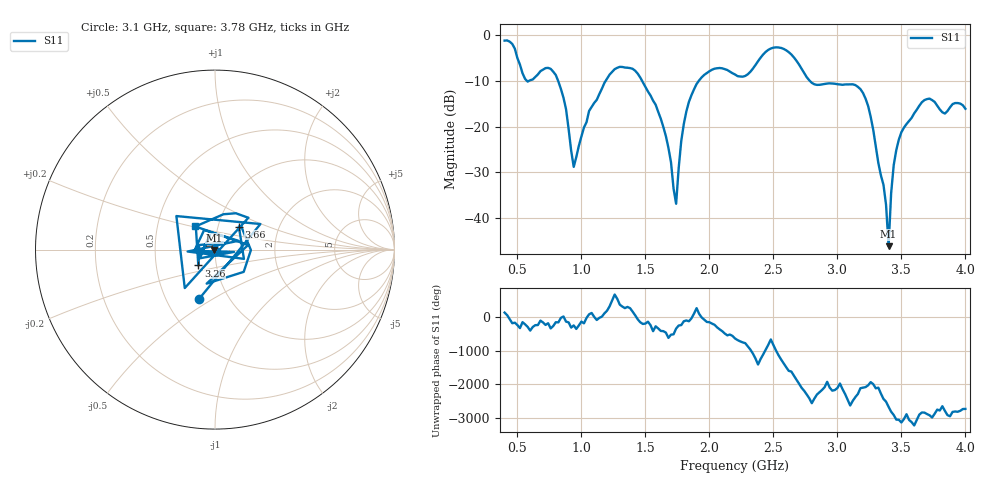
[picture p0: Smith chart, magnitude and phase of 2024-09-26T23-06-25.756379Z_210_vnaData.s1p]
!Created with skrf (http://scikit-rf.org).
# Hz S RI R 50.0
!freq ReS11 ImS11
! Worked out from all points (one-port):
!   181 points, 400 MHz to 4 GHz, reference 50 ohm
!   lowest |S11| = -46.2 dB at 3.4 GHz (marker M1), VSWR 1.01, Z = 49.6 - j0.255 ohm
!   |S11| at or under -10 dB: 818.4 MHz to 1.189 GHz (370.7 MHz wide, 36.9 % of centre); 1.475 GHz to 1.917 GHz (442.2 MHz wide, 26.1 % of centre); 2.785 GHz to end of sweep (the widest 3 of 4)
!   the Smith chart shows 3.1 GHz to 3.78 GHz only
!   S11 on the Smith chart (normalised r, x): 3.1 GHz: 0.72, -0.44; 3.26 GHz: 0.82, -0.15; 3.66 GHz: 1.26, +0.33; 3.78 GHz: 0.78, +0.21
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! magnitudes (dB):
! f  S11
! 400 MHz  -1.2
! 580 MHz  -10.1
! 760 MHz  -7.4
! 860 MHz  -13.7
! 940 MHz  -28.8
! 1.06 GHz  -16.6
! 1.3 GHz  -6.9
! 1.42 GHz  -7.8
! 1.58 GHz  -15.2
! 1.68 GHz  -24.7
! 1.74 GHz  -36.9
! 1.76 GHz  -29.1
! 1.82 GHz  -16.7
! 1.9 GHz  -10.7
! 2.2 GHz  -8.6
! 2.5 GHz  -2.7
! 2.66 GHz  -4.8
! 2.82 GHz  -10.7
! 3.1 GHz  -10.7
! 3.26 GHz  -17.8
! 3.36 GHz  -32.7
! 3.4 GHz  -46.2
! 3.42 GHz  -34.5
! 3.44 GHz  -28.4
! 3.56 GHz  -18.7
! 3.66 GHz  -14.7
! 3.78 GHz  -15.4
! 4 GHz  -16.1
